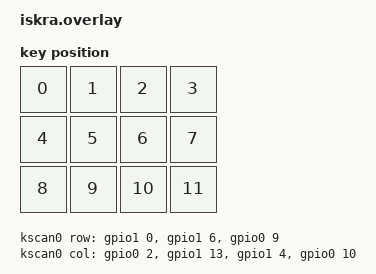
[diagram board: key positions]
/*
 * Iskra shield overlay (nice_nano_v2, Pro Micro footprint)
 */

#include <physical_layouts.dtsi>

/ {
	chosen {
		zmk,kscan = &kscan0;
		zmk,matrix_transform = &iskra_transform;
		zmk,physical-layout = &iskra_layout;
	};

	iskra_transform: iskra_transform {
		compatible = "zmk,matrix-transform";
		columns = <4>;
		rows = <3>;
		map = <
			0 1 2 3
			4 5 6 7
			8 9 10 11
		>;
	};

	iskra_layout: iskra_layout {
		compatible = "zmk,physical-layout";
		display-name = "Default Layout";
		transform = <&iskra_transform>;
		kscan = <&kscan0>;
		keys = <&key_physical_attrs 100 100    0    0 0 0 0>
		     , <&key_physical_attrs 100 100  100    0 0 0 0>
		     , <&key_physical_attrs 100 100  200    0 0 0 0>
		     , <&key_physical_attrs 100 100  300    0 0 0 0>
		     , <&key_physical_attrs 100 100    0  100 0 0 0>
		     , <&key_physical_attrs 100 100  100  100 0 0 0>
		     , <&key_physical_attrs 100 100  200  100 0 0 0>
		     , <&key_physical_attrs 100 100  300  100 0 0 0>
		     , <&key_physical_attrs 100 100    0  200 0 0 0>
		     , <&key_physical_attrs 100 100  100  200 0 0 0>
		     , <&key_physical_attrs 100 100  200  200 0 0 0>
		     , <&key_physical_attrs 100 100  300  200 0 0 0>;
	};
};

&pro_micro {
	kscan0: kscan {
		compatible = "zmk,kscan-gpio-matrix";
		label = "KSCAN";
		diode-direction = "col2row";
		debounce-press-ms = <5>;
		debounce-release-ms = <5>;

		row-gpios = <&gpio1 0 (GPIO_ACTIVE_LOW | GPIO_PULL_UP)>,
			       <&gpio1 6 (GPIO_ACTIVE_LOW | GPIO_PULL_UP)>,
			       <&gpio0 9 (GPIO_ACTIVE_LOW | GPIO_PULL_UP)>;

		col-gpios = <&gpio0 2 GPIO_ACTIVE_LOW>,
			       <&gpio1 13 GPIO_ACTIVE_LOW>,
			       <&gpio1 4 GPIO_ACTIVE_LOW>,
			       <&gpio0 10 GPIO_ACTIVE_LOW>;
	};
};
